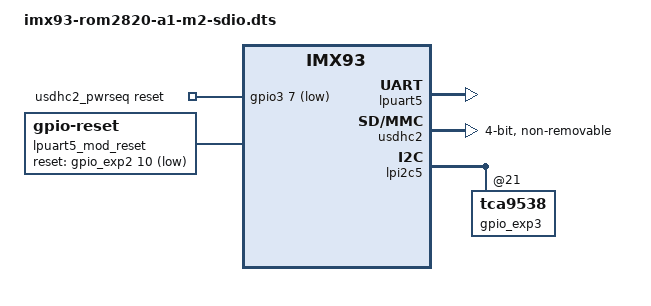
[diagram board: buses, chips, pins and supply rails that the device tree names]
#include "imx93-rom2820-a1.dts"

/delete-node/ &reg_usdhc2_vmmc;

/ {

	usdhc2_pwrseq: usdhc2_pwrseq {
		compatible = "mmc-pwrseq-simple";
		post-power-on-delay-ms = <80>;
		reset-gpios = <&gpio3 7 GPIO_ACTIVE_LOW>;
	};

	lpuart5_mod_reset: lpuart5-mod-reset {
		compatible = "gpio-reset";
		reset-gpios = <&gpio_exp2 10 GPIO_ACTIVE_LOW>;
		reset-delay-us = <2000>;
		reset-post-delay-ms = <40>;
		#reset-cells = <0>;
	};
};

&lpuart5 {
	/delete-property/linux,rs485-enabled-at-boot-time;
	/delete-property/rs485-rx-during-tx;
	/delete-property/rs485-rts-active-low;

	/* BT */
	resets = <&lpuart5_mod_reset>;
	fsl,uart-has-rtscts;
	status = "okay";
};

&usdhc2 {
	/delete-property/vmmc-supply;
	/delete-property/cd-gpios;
	/delete-property/no-sdio;
	/delete-property/no-mmc;

	pinctrl-names = "default", "state_100mhz", "state_200mhz";
	pinctrl-0 = <&pinctrl_usdhc2>,<&pinctrl_reg_usdhc2_vmmc>;
	pinctrl-1 = <&pinctrl_usdhc2>,<&pinctrl_reg_usdhc2_vmmc>;
	pinctrl-2 = <&pinctrl_usdhc2>,<&pinctrl_reg_usdhc2_vmmc>;
	mmc-pwrseq = <&usdhc2_pwrseq>;
	pinctrl-assert-gpios = <&gpio_exp2 6 GPIO_ACTIVE_HIGH>;
	keep-power-in-suspend;
	non-removable;
	bus-width = <4>;
	status = "okay";
};

&lpi2c5 {
        gpio_exp3: tca9538@21 {

                UR_SEL {
                        gpio-hog;
                        gpios = <2 GPIO_ACTIVE_HIGH>;
                        output-high;
                        line-name = "UR_SEL";
                };
        };
};
